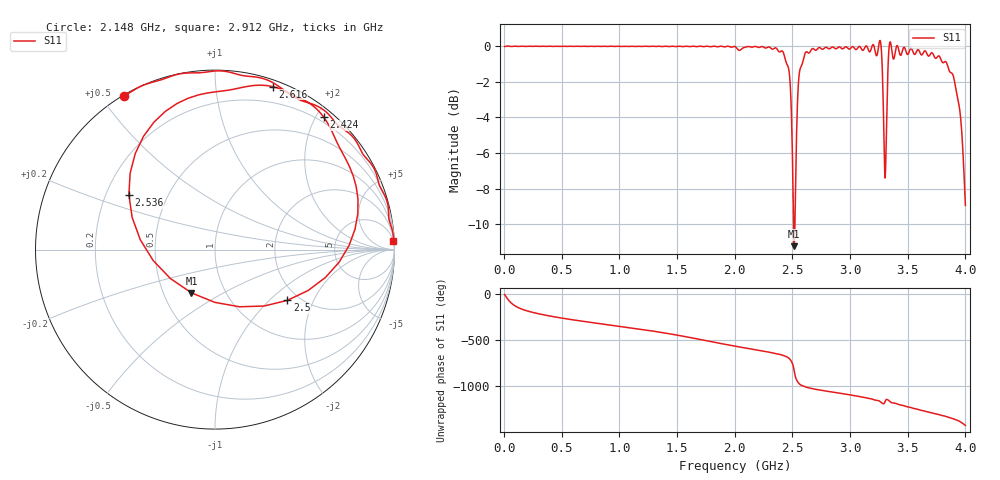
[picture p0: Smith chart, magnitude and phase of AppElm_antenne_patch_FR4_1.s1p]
! TOUCHSTONE file generated by CST MICROWAVE STUDIO
! Date and time: Tue Jun 14 11:50:57 2022
! Project name: AppElm_antenne_patch_FR4.cst
! Parameters = {L=33.75; W=58.5; e=0.035; h=1.6; lambda=0.190476; ls=120; w0=2.54; w1=0.847; ws=120; y0=18; y1=23.8}
! Header version: 2018
! Port assignment regex: !\s*Touchstone port\s*([0-9]+)\s*=\s*(CST MWS port|CST DS port)\s*([0-9]+|Zmin|Zmax)\s*\(\"(.*)\"\)(\s*mode\s*([0-9]+))?.*
! Touchstone port assignment:
! Touchstone port 1 = CST MWS port 1 ("")
# GHz S MA R 50
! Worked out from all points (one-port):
!   1000 points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, 4 MHz to 4 GHz, reference 50 ohm
!   lowest |S11| = -11.2 dB at 2.516 GHz (marker M1), VSWR 1.76, Z = 34.6 - j18 ohm
!   |S11| at or under -10 dB: 2.510234 GHz to 2.5216 GHz (11.37 MHz wide, 0.452 % of centre)
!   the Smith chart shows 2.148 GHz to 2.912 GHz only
!   S11 on the Smith chart (normalised r, x): 2.148 GHz: 0.00, +0.57; 2.424 GHz: 0.13, +2.11; 2.5 GHz: 1.74, -1.30; 2.536 GHz: 0.30, +0.27; 2.616 GHz: 0.06, +1.41; 2.912 GHz: 4, +42
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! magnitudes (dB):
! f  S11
! 4 MHz  0.0
! 504 MHz  0.0
! 1.004 GHz  0.0
! 1.504 GHz  0.0
! 2.004 GHz  0.0
! 2.148 GHz  0.0
! 2.424 GHz  -0.4
! 2.472 GHz  -1.5
! 2.484 GHz  -2.5
! 2.5 GHz  -6.2
! 2.504 GHz  -7.6
! 2.516 GHz  -11.2
! 2.536 GHz  -4.9
! 2.548 GHz  -2.5
! 2.564 GHz  -1.3
! 2.616 GHz  -0.3
! 2.912 GHz  0.0
! 3.004 GHz  -0.1
! 3.256 GHz  0.3
! 3.268 GHz  0.1
! 3.292 GHz  -4.6
! 3.304 GHz  -7.4
! 3.348 GHz  0.3
! 3.504 GHz  -0.4
! 3.772 GHz  -0.5
! 3.888 GHz  -1.6
! 3.952 GHz  -3.6
! 4 GHz  -8.9
